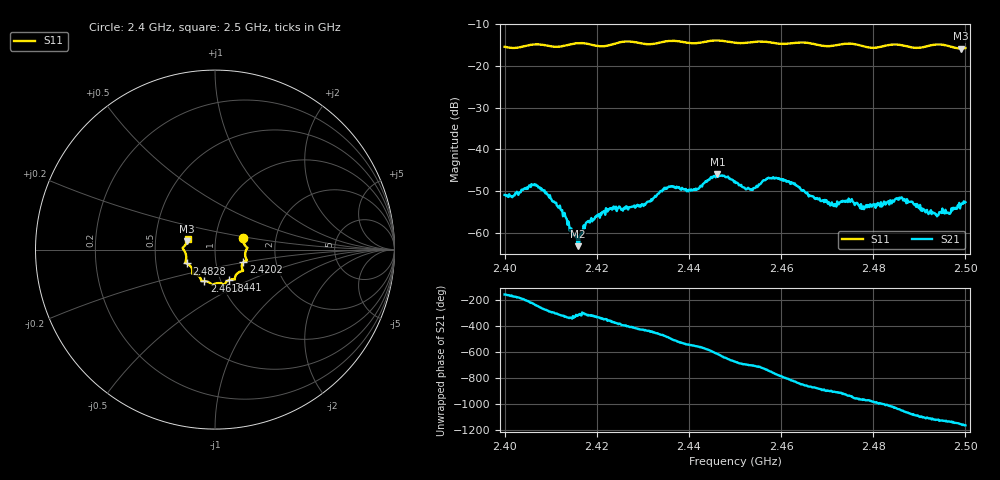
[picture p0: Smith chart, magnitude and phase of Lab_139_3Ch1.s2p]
# Hz S RI R 50
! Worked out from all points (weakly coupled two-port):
!   601 points, 2.4 GHz to 2.5 GHz, reference 50 ohm
!   highest |S21| = -46.01 dB at 2.4462 GHz (marker M1); lowest = -63.2 dB at 2.4158 GHz (marker M2)
!   lowest |S11| = -15.8 dB at 2.499 GHz (marker M3), VSWR 1.38, Z = 36.5 + j3.48 ohm
!   |S11| at or under -10 dB: start of sweep to end of sweep
!   S12 and S22 are empty: the file has one direction only
!   S11 on the Smith chart (normalised r, x): 2.4 GHz: 1.36, +0.18; 2.4202 GHz: 1.36, -0.20; 2.441 GHz: 1.10, -0.39; 2.4618 GHz: 0.84, -0.31; 2.4828 GHz: 0.72, -0.12; 2.5 GHz: 0.73, +0.09
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2.4e9  0.1574 0.0632  -0.00265 -0.00102  0 0  0 0
2.407e9  0.181 0.0102  -0.0015 0.00334  0 0  0 0
2.412e9  0.168 -0.0285  0.00152 0.00146  0 0  0 0
2.415833e9  0.1779 -0.0585  0.000555 0.000408  0 0  0 0
2.416667e9  0.1778 -0.06  0.000733 0.000599  0 0  0 0
2.420167e9  0.1582 -0.0707  0.00141 0.000718  0 0  0 0
2.433333e9  0.1122 -0.1511  -0.000536 -0.00289  0 0  0 0
2.436e9  0.1099 -0.1664  -0.00268 -0.0024  0 0  0 0
2.441e9  0.0785 -0.1694  -0.00324 0.000647  0 0  0 0
2.446167e9  0.0507 -0.1953  -0.00126 0.00485  0 0  0 0
2.45e9  0.0285 -0.187  0.00296 0.00287  0 0  0 0
2.4535e9  -0.0041 -0.1924  0.00315 0.00091  0 0  0 0
2.457333e9  -0.0207 -0.1913  0.00406 -0.00207  0 0  0 0
2.461833e9  -0.0593 -0.1758  -0.000268 -0.00404  0 0  0 0
2.466667e9  -0.0778 -0.1682  -0.00243 -0.00129  0 0  0 0
2.477667e9  -0.1261 -0.1184  -0.00064 0.00183  0 0  0 0
2.482833e9  -0.1575 -0.0774  0.000699 0.00213  0 0  0 0
2.483333e9  -0.1605 -0.0762  0.00091 0.00221  0 0  0 0
2.486167e9  -0.1639 -0.067  0.00233 0.00128  0 0  0 0
2.493667e9  -0.1803 0.00706  0.00122 -0.00113  0 0  0 0
2.499e9  -0.1545 0.0464  0.000512 -0.00212  0 0  0 0
2.5e9  -0.1518 0.061  0.000159 -0.00232  0 0  0 0
